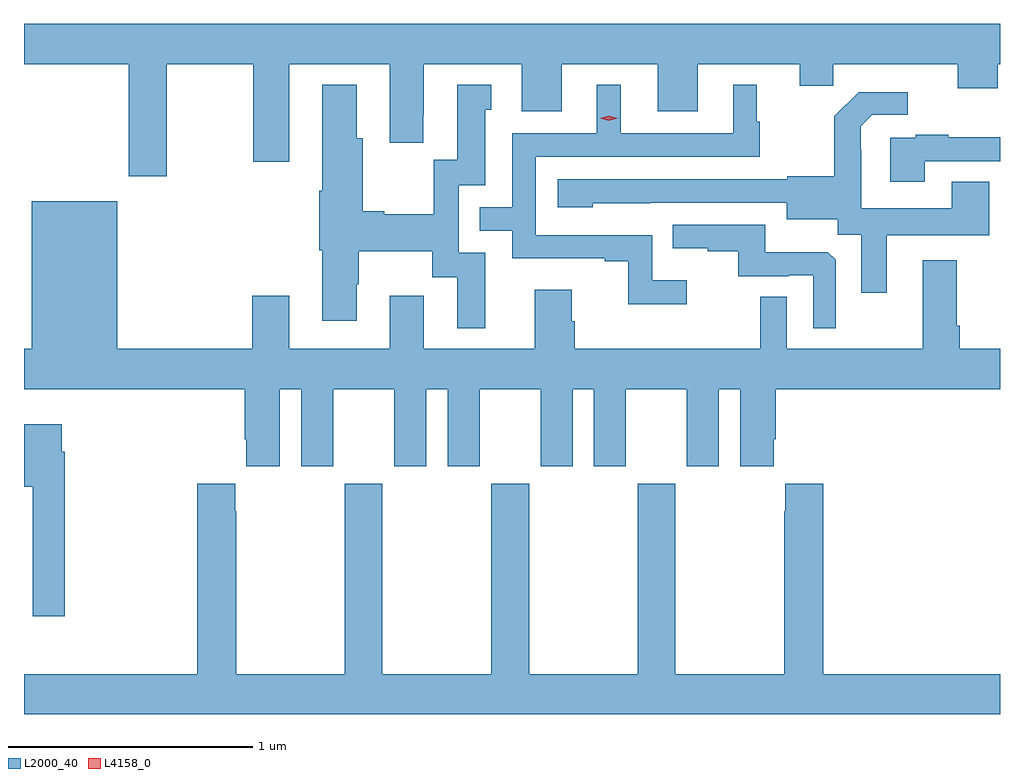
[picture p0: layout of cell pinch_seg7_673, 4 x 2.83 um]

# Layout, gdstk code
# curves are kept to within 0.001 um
import gdstk
lib = gdstk.Library(unit=1e-6, precision=1e-09)
def P(c, l, *ps):  # polygons
    for p in ps: c.add(gdstk.Polygon(p, *l))
L2000_40 = (2000, 40)
L4158_0 = (4158, 0)

pinch_seg7_673 = lib.new_cell('pinch_seg7_673')
P(pinch_seg7_673, L2000_40, [(257.145,1012.604),(257.5,1012.604),(257.5,1012.203),(257.647,1012.203),(257.647,1012.604),(258.059,1012.604),(258.059,1012.281),(258.196,1012.281),(258.196,1012.393),(258.199,1012.393),(258.199,1012.604),(258.599,1012.604),(258.599,1012.41),(258.763,1012.41),(258.763,1012.604),(259.157,1012.604),(259.157,1012.41),(259.321,1012.41),(259.321,1012.604),(259.739,1012.604),(259.739,1012.514),(259.877,1012.514),(259.877,1012.604),(260.387,1012.604),(260.387,1012.505),(260.551,1012.505),(260.551,1012.604),(260.56,1012.604),(260.56,1012.768),(256.56,1012.768),(256.56,1012.604),(256.99,1012.604),(256.99,1012.143),(257.145,1012.143)],
  [(259.276,1011.718),(259.134,1011.718),(259.134,1011.903),(258.657,1011.903),(258.657,1012.224),(259.576,1012.224),(259.576,1012.368),(259.564,1012.368),(259.564,1012.519),(259.466,1012.519),(259.466,1012.32),(259.006,1012.32),(259.006,1012.519),(258.908,1012.519),(258.908,1012.32),(258.561,1012.32),(258.561,1012.017),(258.427,1012.017),(258.427,1011.921),(258.561,1011.921),(258.561,1011.807),(258.941,1011.807),(258.941,1011.795),(259.036,1011.795),(259.036,1011.62),(259.276,1011.62)],
  [(258.451,1011.831),(258.342,1011.831),(258.342,1012.107),(258.451,1012.107),(258.451,1012.416),(258.475,1012.416),(258.475,1012.519),(258.335,1012.519),(258.335,1012.212),(258.239,1012.212),(258.239,1011.988),(258.037,1011.988),(258.037,1012.001),(257.949,1012.001),(257.949,1012.299),(257.923,1012.299),(257.923,1012.519),(257.783,1012.519),(257.783,1012.084),(257.771,1012.084),(257.771,1011.84),(257.783,1011.84),(257.783,1011.552),(257.923,1011.552),(257.923,1011.702),(257.931,1011.702),(257.931,1011.836),(258.234,1011.836),(258.234,1011.73),(258.335,1011.73),(258.335,1011.522),(258.451,1011.522)],
  [(260.095,1011.902),(260.515,1011.902),(260.515,1012.121),(260.363,1012.121),(260.363,1012.012),(259.992,1012.012),(259.992,1012.253),(259.99,1012.253),(259.99,1012.348),(260.037,1012.395),(260.182,1012.395),(260.182,1012.489),(259.981,1012.489),(259.881,1012.389),(259.881,1012.144),(259.689,1012.144),(259.689,1012.131),(258.747,1012.131),(258.747,1012.016),(258.891,1012.016),(258.891,1012.034),(259.685,1012.035),(259.685,1011.968),(259.896,1011.968),(259.896,1011.904),(259.991,1011.904),(259.991,1011.666),(260.095,1011.666)],
  [(260.251,1012.206),(260.56,1012.206),(260.56,1012.304),(260.347,1012.304),(260.347,1012.315),(260.215,1012.315),(260.215,1012.302),(260.111,1012.302),(260.111,1012.122),(260.251,1012.122)],
  [(258.818,1011.549),(258.805,1011.549),(258.805,1011.679),(258.653,1011.679),(258.653,1011.436),(258.199,1011.436),(258.199,1011.655),(258.059,1011.655),(258.059,1011.436),(257.647,1011.436),(257.647,1011.655),(257.495,1011.655),(257.495,1011.436),(256.942,1011.436),(256.942,1012.042),(256.592,1012.042),(256.592,1011.436),(256.56,1011.436),(256.56,1011.272),(257.465,1011.272),(257.465,1011.067),(257.471,1011.067),(257.471,1010.955),(257.608,1010.955),(257.608,1011.272),(257.696,1011.272),(257.696,1010.955),(257.827,1010.955),(257.827,1011.272),(258.077,1011.272),(258.077,1010.955),(258.208,1010.955),(258.208,1011.272),(258.296,1011.272),(258.296,1010.955),(258.427,1010.955),(258.427,1011.272),(258.677,1011.272),(258.677,1010.955),(258.808,1010.955),(258.808,1011.272),(258.896,1011.272),(258.896,1010.955),(259.027,1010.955),(259.027,1011.272),(259.277,1011.272),(259.277,1010.955),(259.408,1010.955),(259.408,1011.272),(259.496,1011.272),(259.496,1010.955),(259.633,1010.955),(259.633,1011.067),(259.64,1011.067),(259.64,1011.272),(260.56,1011.272),(260.56,1011.436),(260.396,1011.436),(260.396,1011.532),(260.383,1011.532),(260.383,1011.799),(260.243,1011.799),(260.243,1011.436),(259.686,1011.436),(259.686,1011.65),(259.578,1011.65),(259.578,1011.436),(258.818,1011.436)],
  [(259.887,1011.801),(259.855,1011.833),(259.597,1011.833),(259.597,1011.945),(259.219,1011.945),(259.219,1011.848),(259.363,1011.848),(259.363,1011.837),(259.487,1011.837),(259.487,1011.735),(259.694,1011.735),(259.694,1011.738),(259.794,1011.738),(259.794,1011.521),(259.887,1011.521)],
  [(256.727,1011.014),(256.714,1011.014),(256.714,1011.127),(256.56,1011.127),(256.56,1010.871),(256.595,1010.871),(256.595,1010.34),(256.727,1010.34)],
  [(260.56,1010.104),(259.835,1010.104),(259.835,1010.884),(259.679,1010.884),(259.679,1010.771),(259.675,1010.771),(259.675,1010.104),(259.23,1010.104),(259.23,1010.884),(259.075,1010.884),(259.075,1010.104),(258.63,1010.104),(258.63,1010.884),(258.475,1010.884),(258.475,1010.104),(258.029,1010.104),(258.029,1010.884),(257.875,1010.884),(257.875,1010.104),(257.43,1010.104),(257.43,1010.771),(257.425,1010.771),(257.425,1010.884),(257.27,1010.884),(257.27,1010.104),(256.56,1010.104),(256.56,1009.94),(260.56,1009.94)])
P(pinch_seg7_673, L4158_0, [(258.957,1012.372),(258.922,1012.382),(258.921,1012.382),(258.922,1012.382),(258.957,1012.392),(258.992,1012.382),(258.993,1012.382),(258.992,1012.382)])

lib.write_gds('pinch_seg7_673.gds')
